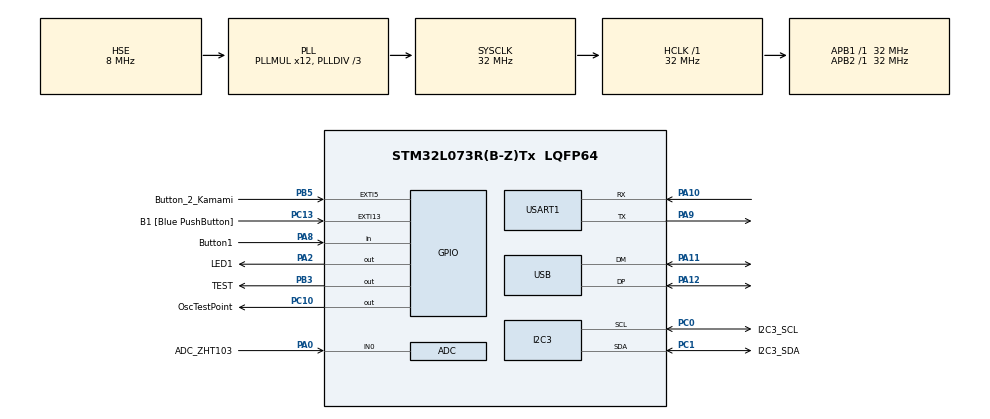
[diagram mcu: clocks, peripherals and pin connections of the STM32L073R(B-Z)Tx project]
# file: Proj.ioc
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ADC.ClockPrescaler=ADC_CLOCK_ASYNC_DIV1
ADC.ContinuousConvMode=DISABLE
ADC.EOCSelection=ADC_EOC_SEQ_CONV
Dma.ADC.0.Direction=DMA_PERIPH_TO_MEMORY
Dma.ADC.0.Instance=DMA1_Channel1
Dma.ADC.0.MemDataAlignment=DMA_MDATAALIGN_HALFWORD
Dma.ADC.0.MemInc=DMA_MINC_ENABLE
Dma.ADC.0.Mode=DMA_NORMAL
Dma.ADC.0.PeriphDataAlignment=DMA_PDATAALIGN_HALFWORD
Dma.ADC.0.PeriphInc=DMA_PINC_DISABLE
Dma.ADC.0.Priority=DMA_PRIORITY_LOW
Dma.Request0=ADC
I2C3.Timing=0x00707CBB
Mcu.Family=STM32L0
Mcu.Name=STM32L073R(B-Z)Tx
Mcu.Package=LQFP64
NVIC.ADC1_COMP_IRQn=true\:0\:0\:false\:false\:true\:true\:true\:true
NVIC.DMA1_Channel1_IRQn=true\:0\:0\:false\:false\:true\:false\:true\:true
NVIC.TIM6_DAC_IRQn=true\:0\:0\:false\:false\:true\:true\:true\:true
NVIC.USART1_IRQn=true\:0\:0\:false\:false\:true\:true\:true\:true
NVIC.USB_IRQn=true\:0\:0\:false\:false\:true\:false\:true\:true
PA0.GPIO_Label=ADC_ZHT103
PA0.Mode=IN0
PA0.Signal=ADC_IN0
PA10.Mode=Asynchronous
PA10.Signal=USART1_RX
PA11.Mode=Device
PA11.Signal=USB_DM
PA12.Mode=Device
PA12.Signal=USB_DP
PA13.GPIO_Label=TMS
PA13.Mode=Serial_Wire
PA13.Signal=SYS_SWDIO
PA14.GPIO_Label=TCK
PA14.Mode=Serial_Wire
PA14.Signal=SYS_SWCLK
PA2.GPIO_Label=LED1
PA2.Signal=GPIO_Output
PA8.GPIO_Label=Button1
PA8.GPIO_PuPd=GPIO_PULLUP
PA8.Signal=GPIO_Input
PA9.Mode=Asynchronous
PA9.Signal=USART1_TX
PB3.GPIO_Label=TEST
PB3.Signal=GPIO_Output
PB5.GPIO_Label=Button_2_Kamami
PB5.GPIO_PuPd=GPIO_PULLUP
PB5.Signal=GPXTI5
PC0.GPIO_Label=I2C3_SCL
PC0.Mode=I2C
PC0.Signal=I2C3_SCL
PC1.GPIO_Label=I2C3_SDA
PC1.Mode=I2C
PC1.Signal=I2C3_SDA
PC10.GPIO_Label=OscTestPoint
PC10.Signal=GPIO_Output
PC13.GPIO_Label=B1 [Blue PushButton]
PC13.GPIO_ModeDefaultEXTI=GPIO_MODE_IT_FALLING
PC13.Signal=GPXTI13
PC14-OSC32_IN.Mode=LSE-External-Oscillator
PC14-OSC32_IN.Signal=RCC_OSC32_IN
PC15-OSC32_OUT.Mode=LSE-External-Oscillator
PC15-OSC32_OUT.Signal=RCC_OSC32_OUT
PH0-OSC_IN.GPIO_Label=MCO
PH0-OSC_IN.Mode=HSE-External-Clock-Source
PH0-OSC_IN.Signal=RCC_OSC_IN
PH1-OSC_OUT.Signal=RCC_OSC_OUT
ProjectManager.HeapSize=0x600
ProjectManager.StackSize=0x600
ProjectManager.TargetToolchain=MDK-ARM V5.32
RCC.AHBFreq_Value=32000000
RCC.APB1Freq_Value=32000000
RCC.APB1TimFreq_Value=32000000
RCC.APB2Freq_Value=32000000
RCC.APB2TimFreq_Value=32000000
RCC.HCLKFreq_Value=32000000
RCC.HSE_VALUE=8000000
RCC.HSI16_VALUE=16000000
RCC.HSI48_VALUE=48000000
RCC.HSI_VALUE=16000000
RCC.MSI_VALUE=2097000
RCC.PLLDIV=RCC_PLLDIV_3
RCC.PLLMUL=RCC_PLLMUL_12
RCC.PREFETCH_ENABLE=1
RCC.SYSCLKFreq_VALUE=32000000
RCC.SYSCLKSource=RCC_SYSCLKSOURCE_PLLCLK
RCC.VCOOutputFreq_Value=96000000
TIM6.AutoReloadPreload=TIM_AUTORELOAD_PRELOAD_ENABLE
TIM6.Period=160
TIM6.Prescaler=10000
USART1.VirtualMode-Asynchronous=VM_ASYNC
USB_DEVICE.CLASS_NAME_FS=CDC
USB_DEVICE.VirtualMode=Cdc
USB_DEVICE.VirtualModeFS=Cdc_FS
VP_TIM6_VS_ClockSourceINT.Mode=Enable_Timer
VP_USB_DEVICE_VS_USB_DEVICE_CDC_FS.Mode=CDC_FS
board=NUCLEO-L073RZ

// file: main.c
/* USER CODE BEGIN Header */
/**
  ******************************************************************************
  * @file           : main.c
  * @brief          : Main program body
  ******************************************************************************
  * @attention
  *
  * Copyright (c) 2024 STMicroelectronics.
  * All rights reserved.
  *
  * This software is licensed under terms that can be found in the LICENSE file
  * in the root directory of this software component.
  * If no LICENSE file comes with this software, it is provided AS-IS.
  *
  ******************************************************************************
  */
/* USER CODE END Header */
#include "main.h"
#include "usb_device.h"

/* USER CODE BEGIN Includes */
#include "math.h"

#include "sc_types.h"
#include "Statechart.h"
#include "Statechart_required.h"

#include "ssd1306.h"
#include "fonts.h"
#include <stdio.h>
#include <string.h>

#include "stm32l0xx_hal.h"

/* USER CODE END Includes */

ADC_HandleTypeDef hadc;
DMA_HandleTypeDef hdma_adc;

I2C_HandleTypeDef hi2c3;

TIM_HandleTypeDef htim6;

UART_HandleTypeDef huart1;

void SystemClock_Config(void);
static void MX_GPIO_Init(void);
static void MX_DMA_Init(void);
static void MX_ADC_Init(void);
static void MX_I2C3_Init(void);
static void MX_TIM6_Init(void);
static void MX_USART1_UART_Init(void);

/* USER CODE BEGIN 0 */

uint8_t TxBuffer[60];
uint8_t RxBuffer[60];
int i;

typedef enum {UART_READY,UART_BUSY,UART_FINISHED} UART_Status;
UART_Status Status=UART_READY;
long WorkCounter=0;

/*
* Implement Transmit complete callback function
*/
void HAL_UART_TxCpltCallback(UART_HandleTypeDef *huart){
	if (Status==UART_BUSY)
		Status=UART_READY; // transmition finished, can send more if needed
}

void HandleError(){
	uint32_t uart_err;
	uart_err=HAL_UART_GetError(&huart1);
}

#define EEPROM_ADDRESS 0xA0  // EEPROM adresas
#define EEPROM_PAGE_SIZE 32

#define BUFFERLEN 24
#define Vref 3.3
#define Step 4095
#define Jautr 0.2
#define Koef 0.02

double DataBufferADC[BUFFERLEN];

float AverageSensorsADC;

float SqrSensorsADC;

Statechart sc_handle; // Statechart pointer

#define ADC_CONVERTED_DATA_BUFFER_SIZE   ((uint32_t)  32)   /* Size of array aADCxConvertedData[] */

static uint16_t   aADCxConvertedData[ADC_CONVERTED_DATA_BUFFER_SIZE];

double Raw_voltage;

double Raw_current;

/* for handling ADC errors */
void MyErrorHandlerADC()
{
}

void EEPROM_Write(uint16_t address, uint8_t* data, uint16_t size) {
    HAL_I2C_Mem_Write(&hi2c1, EEPROM_ADDR, address, I2C_MEMADD_SIZE_16BIT, data, size, HAL_MAX_DELAY);
}

void EEPROM_Read(uint16_t address, uint8_t* data, uint16_t size) {
    HAL_I2C_Mem_Read(&hi2c1, EEPROM_ADDR, address, I2C_MEMADD_SIZE_16BIT, data, size, HAL_MAX_DELAY);
}

void statechart_readMemory( Statechart* handle){
	uint16_t address = 0x00; // Adresas
	uint8_t bytes[4];
    /*memcpy(&bytes[0], &Vref, sizeof(float));
    memcpy(&bytes[1], &Jautr, sizeof(float));
    memcpy(&bytes[2], &Koef, sizeof(float));

	for (int i = 0; i < 3; i++) {
        EEPROM_Write(address, &bytes[i], sizeof(float));
        address += sizeof(float);
    };
	*/

	for (int i = 0; i < 4; i++) {
        EEPROM_Read(address, &bytes[i], sizeof(float));
        address += sizeof(float);
    }

    // Konvertuojame baitus atgal i float tipo skaicius
    float Vref, Jautr, Koef;
    memcpy(&Vref, &bytes[0], sizeof(float));
    memcpy(&Jautr, &bytes[1], sizeof(float));
    memcpy(&Koef, &bytes[2], sizeof(float));

};

void statechart_configADC( Statechart* handle){
	return;

};

sc_integer statechart_startConvADC( Statechart* handle, const sc_integer sample){

	if (HAL_ADC_Start_DMA(&hadc,(uint32_t *)aADCxConvertedData,
			          BUFFERLEN) != HAL_OK)
		{
			MyErrorHandlerADC();	// handle error};
		  return 0;
		}
	return 1;
}

void statechart_readADCSample( Statechart* handle){

	Raw_voltage = aADCxConvertedData[1];
  Raw_current = (Raw_voltage * Vref / Step)-Jautr;

	return;

}

sc_integer statechart_saveADCSample( Statechart* handle, const sc_integer sample){

	DataBufferADC[sample]=Raw_current;

	return 1;

}

void statechart_processData( Statechart* handle){

	double sum1;
	sum1=0;

	for(int i=0;i<BUFFERLEN;i++){
		sum1=sum1 + (DataBufferADC[i] * DataBufferADC[i]);

	}

	AverageSensorsADC=sum1/BUFFERLEN;

	SqrSensorsADC=(float)sqrt(AverageSensorsADC)/Koef;

}

void statechart_displayInfo( Statechart* handle){
#ifndef DISABLE_DISPLAY
	static char string_display[30];

	// Display analog sensor redings
	ssd1306_SetCursor(0, 0);
	sprintf(string_display,"Samp=%f mA    ",Raw_voltage);
	ssd1306_WriteString(string_display,Font_11x18, White);

	// Display analog sensors readings
	ssd1306_SetCursor(0, 22); // ssd1306_SetCursor(0, 14);
	sprintf(string_display,"U=%.1f V    ",round(Raw_current*10)/10);
	ssd1306_WriteString(string_display,Font_11x18, White);
  ssd1306_SetCursor(0, 44); // ssd1306_SetCursor(0, 14);
  sprintf(string_display,"I=%.1f mA    ",round(SqrSensorsADC*10)/10);
  ssd1306_WriteString(string_display,Font_11x18, White);

	// Copy all data from local screenbuffer to the screen
  ssd1306_UpdateScreen(&hi2c3);
	#endif

}

void statechart_sendInfo( Statechart* handle){

	if (Status==UART_READY)
		{
		sprintf((char *)TxBuffer,"Samples=%f; V= %f V; Irms= %f mA \n\r",Raw_voltage, Raw_current, SqrSensorsADC);
		//sprintf((char *)TxBuffer,"U=%f V \n\r",SqrSensorsADC);

		if (HAL_UART_Transmit_IT(&huart1,TxBuffer,strlen(TxBuffer))!=HAL_OK)
			{
			HandleError();}
		else
			Status=UART_BUSY; // sending data
	}

}

/* sampling timer interrupt callback function */
void HAL_TIM_PeriodElapsedCallback(TIM_HandleTypeDef *htim)
{
  if (htim==&htim6)
	{
		HAL_ResumeTick(); // Enable SysTick after wake-up
		statechart_raise_ev_GetSample(&sc_handle); //raise event TimerIntr in statechart
	}
}

/* ADC conversion competed callback*/
void HAL_ADC_ConvCpltCallback(ADC_HandleTypeDef *hadc)
{
	HAL_ResumeTick(); // Enable SysTick after wake-up
	//statechart_raise_ev_ADCSampleReady(&sc_handle); //raise event TimerIntr in statechart
}

static void SYSCLKConfig_STOP(void)
{
  RCC_ClkInitTypeDef RCC_ClkInitStruct = {0};
  RCC_OscInitTypeDef RCC_OscInitStruct = {0};
  uint32_t pFLatency = 0;

  /* Enable Power Control clock */
  __HAL_RCC_PWR_CLK_ENABLE();

  /* Get the Oscillators configuration according to the internal RCC registers */
  HAL_RCC_GetOscConfig(&RCC_OscInitStruct);

  RCC_OscInitStruct.OscillatorType = RCC_OSCILLATORTYPE_NONE;
  RCC_OscInitStruct.PLL.PLLState = RCC_PLL_ON;
  if (HAL_RCC_OscConfig(&RCC_OscInitStruct) != HAL_OK)
  {
    Error_Handler();
  }

  /* Get the Clocks configuration according to the internal RCC registers */
  HAL_RCC_GetClockConfig(&RCC_ClkInitStruct, &pFLatency);

  /* Select PLL as system clock source and configure the HCLK, PCLK1 and PCLK2
     clocks dividers */
  RCC_ClkInitStruct.ClockType     = RCC_CLOCKTYPE_SYSCLK;
  RCC_ClkInitStruct.SYSCLKSource  = RCC_SYSCLKSOURCE_PLLCLK;
  if (HAL_RCC_ClockConfig(&RCC_ClkInitStruct, pFLatency) != HAL_OK)
  {
    Error_Handler();
  }
}

/* USER CODE END 0 */

int main(void)
{

  /* MCU Configuration--------------------------------------------------------*/

  /* Reset of all peripherals, Initializes the Flash interface and the Systick. */
  HAL_Init();

  /* Configure the system clock */
  SystemClock_Config();

  /* Initialize all configured peripherals */
  MX_GPIO_Init();
  MX_DMA_Init();
  MX_ADC_Init();
  MX_I2C3_Init();
  MX_TIM6_Init();
  MX_USB_DEVICE_Init();
  MX_USART1_UART_Init();
  /* USER CODE BEGIN 2 */

		#ifndef DISABLE_DISPLAY
  // Init lcd using one of the stm32HAL i2c typedefs
  ssd1306_Init(&hi2c3);
  // Write data to local screenbuffer
	ssd1306_SetCursor(0,0);
  ssd1306_WriteString("Starting ...",Font_11x18, White);
  ssd1306_SetCursor(0, 12);

  // Copy all data from local screenbuffer to the screen
   ssd1306_UpdateScreen(&hi2c3);
	 #endif

	#ifndef DISABLE_PROCESSING
  statechart_init(&sc_handle); // initialize state machine
  statechart_enter(&sc_handle); // run state machine

	if(HAL_TIM_Base_Start_IT(&htim6) != HAL_OK) //run TIM6 timer
   {
    //ErrorHandler();
   }
		#endif

  /* USER CODE END 2 */

  /* Infinite loop */
  while (1)
  {

  }
}

void SystemClock_Config(void)
{
  RCC_OscInitTypeDef RCC_OscInitStruct = {0};
  RCC_ClkInitTypeDef RCC_ClkInitStruct = {0};
  RCC_PeriphCLKInitTypeDef PeriphClkInit = {0};

  /** Configure the main internal regulator output voltage
  */
  __HAL_PWR_VOLTAGESCALING_CONFIG(PWR_REGULATOR_VOLTAGE_SCALE1);

  /** Initializes the RCC Oscillators according to the specified parameters
  * in the RCC_OscInitTypeDef structure.
  */
  RCC_OscInitStruct.OscillatorType = RCC_OSCILLATORTYPE_HSI|RCC_OSCILLATORTYPE_HSE;
  RCC_OscInitStruct.HSEState = RCC_HSE_BYPASS;
  RCC_OscInitStruct.HSIState = RCC_HSI_ON;
  RCC_OscInitStruct.HSICalibrationValue = RCC_HSICALIBRATION_DEFAULT;
  RCC_OscInitStruct.PLL.PLLState = RCC_PLL_ON;
  RCC_OscInitStruct.PLL.PLLSource = RCC_PLLSOURCE_HSE;
  RCC_OscInitStruct.PLL.PLLMUL = RCC_PLLMUL_12;
  RCC_OscInitStruct.PLL.PLLDIV = RCC_PLLDIV_3;
  if (HAL_RCC_OscConfig(&RCC_OscInitStruct) != HAL_OK)
  {
    Error_Handler();
  }

  /** Initializes the CPU, AHB and APB buses clocks
  */
  RCC_ClkInitStruct.ClockType = RCC_CLOCKTYPE_HCLK|RCC_CLOCKTYPE_SYSCLK
                              |RCC_CLOCKTYPE_PCLK1|RCC_CLOCKTYPE_PCLK2;
  RCC_ClkInitStruct.SYSCLKSource = RCC_SYSCLKSOURCE_PLLCLK;
  RCC_ClkInitStruct.AHBCLKDivider = RCC_SYSCLK_DIV1;
  RCC_ClkInitStruct.APB1CLKDivider = RCC_HCLK_DIV1;
  RCC_ClkInitStruct.APB2CLKDivider = RCC_HCLK_DIV1;

  if (HAL_RCC_ClockConfig(&RCC_ClkInitStruct, FLASH_LATENCY_1) != HAL_OK)
  {
    Error_Handler();
  }
  PeriphClkInit.PeriphClockSelection = RCC_PERIPHCLK_USART1|RCC_PERIPHCLK_I2C3
                              |RCC_PERIPHCLK_USB;
  PeriphClkInit.Usart1ClockSelection = RCC_USART1CLKSOURCE_PCLK2;
  PeriphClkInit.I2c3ClockSelection = RCC_I2C3CLKSOURCE_PCLK1;
  PeriphClkInit.UsbClockSelection = RCC_USBCLKSOURCE_PLL;
  if (HAL_RCCEx_PeriphCLKConfig(&PeriphClkInit) != HAL_OK)
  {
    Error_Handler();
  }
}

static void MX_ADC_Init(void)
{

  ADC_ChannelConfTypeDef sConfig = {0};

  /** Configure the global features of the ADC (Clock, Resolution, Data Alignment and number of conversion)
  */
  hadc.Instance = ADC1;
  hadc.Init.OversamplingMode = DISABLE;
  hadc.Init.ClockPrescaler = ADC_CLOCK_ASYNC_DIV1;
  hadc.Init.Resolution = ADC_RESOLUTION_12B;
  hadc.Init.SamplingTime = ADC_SAMPLETIME_1CYCLE_5;
  hadc.Init.ScanConvMode = ADC_SCAN_DIRECTION_FORWARD;
  hadc.Init.DataAlign = ADC_DATAALIGN_RIGHT;
  hadc.Init.ContinuousConvMode = DISABLE;
  hadc.Init.DiscontinuousConvMode = DISABLE;
  hadc.Init.ExternalTrigConvEdge = ADC_EXTERNALTRIGCONVEDGE_NONE;
  hadc.Init.ExternalTrigConv = ADC_SOFTWARE_START;
  hadc.Init.DMAContinuousRequests = DISABLE;
  hadc.Init.EOCSelection = ADC_EOC_SEQ_CONV;
  hadc.Init.Overrun = ADC_OVR_DATA_PRESERVED;
  hadc.Init.LowPowerAutoWait = DISABLE;
  hadc.Init.LowPowerFrequencyMode = DISABLE;
  hadc.Init.LowPowerAutoPowerOff = DISABLE;
  if (HAL_ADC_Init(&hadc) != HAL_OK)
  {
    Error_Handler();
  }

  /** Configure for the selected ADC regular channel to be converted.
  */
  sConfig.Channel = ADC_CHANNEL_0;
  sConfig.Rank = ADC_RANK_CHANNEL_NUMBER;
  if (HAL_ADC_ConfigChannel(&hadc, &sConfig) != HAL_OK)
  {
    Error_Handler();
  }

}

static void MX_I2C3_Init(void)
{

  hi2c3.Instance = I2C3;
  hi2c3.Init.Timing = 0x00707CBB;
  hi2c3.Init.OwnAddress1 = 0;
  hi2c3.Init.AddressingMode = I2C_ADDRESSINGMODE_7BIT;
  hi2c3.Init.DualAddressMode = I2C_DUALADDRESS_DISABLE;
  hi2c3.Init.OwnAddress2 = 0;
  hi2c3.Init.OwnAddress2Masks = I2C_OA2_NOMASK;
  hi2c3.Init.GeneralCallMode = I2C_GENERALCALL_DISABLE;
  hi2c3.Init.NoStretchMode = I2C_NOSTRETCH_DISABLE;
  if (HAL_I2C_Init(&hi2c3) != HAL_OK)
  {
    Error_Handler();
  }

  /** Configure Analogue filter
  */
  if (HAL_I2CEx_ConfigAnalogFilter(&hi2c3, I2C_ANALOGFILTER_ENABLE) != HAL_OK)
  {
    Error_Handler();
  }

  /** Configure Digital filter
  */
  if (HAL_I2CEx_ConfigDigitalFilter(&hi2c3, 0) != HAL_OK)
  {
    Error_Handler();
  }

}

static void MX_TIM6_Init(void)
{

  TIM_MasterConfigTypeDef sMasterConfig = {0};

  htim6.Instance = TIM6;
  htim6.Init.Prescaler = 10000;
  htim6.Init.CounterMode = TIM_COUNTERMODE_UP;
  htim6.Init.Period = 640;
  htim6.Init.AutoReloadPreload = TIM_AUTORELOAD_PRELOAD_ENABLE;
  if (HAL_TIM_Base_Init(&htim6) != HAL_OK)
  {
    Error_Handler();
  }
  sMasterConfig.MasterOutputTrigger = TIM_TRGO_RESET;
  sMasterConfig.MasterSlaveMode = TIM_MASTERSLAVEMODE_DISABLE;
  if (HAL_TIMEx_MasterConfigSynchronization(&htim6, &sMasterConfig) != HAL_OK)
  {
    Error_Handler();
  }

}

static void MX_USART1_UART_Init(void)
{

  huart1.Instance = USART1;
  huart1.Init.BaudRate = 115200;
  huart1.Init.WordLength = UART_WORDLENGTH_8B;
  huart1.Init.StopBits = UART_STOPBITS_1;
  huart1.Init.Parity = UART_PARITY_NONE;
  huart1.Init.Mode = UART_MODE_TX_RX;
  huart1.Init.HwFlowCtl = UART_HWCONTROL_NONE;
  huart1.Init.OverSampling = UART_OVERSAMPLING_16;
  huart1.Init.OneBitSampling = UART_ONE_BIT_SAMPLE_DISABLE;
  huart1.AdvancedInit.AdvFeatureInit = UART_ADVFEATURE_NO_INIT;
  if (HAL_UART_Init(&huart1) != HAL_OK)
  {
    Error_Handler();
  }

}

static void MX_DMA_Init(void)
{

  /* DMA controller clock enable */
  __HAL_RCC_DMA1_CLK_ENABLE();

  /* DMA interrupt init */
  /* DMA1_Channel1_IRQn interrupt configuration */
  HAL_NVIC_SetPriority(DMA1_Channel1_IRQn, 0, 0);
  HAL_NVIC_EnableIRQ(DMA1_Channel1_IRQn);

}

static void MX_GPIO_Init(void)
{
  GPIO_InitTypeDef GPIO_InitStruct = {0};

  /* GPIO Ports Clock Enable */
  __HAL_RCC_GPIOC_CLK_ENABLE();
  __HAL_RCC_GPIOH_CLK_ENABLE();
  __HAL_RCC_GPIOA_CLK_ENABLE();
  __HAL_RCC_GPIOB_CLK_ENABLE();

  /*Configure GPIO pin Output Level */
  HAL_GPIO_WritePin(LED1_GPIO_Port, LED1_Pin, GPIO_PIN_RESET);

  /*Configure GPIO pin Output Level */
  HAL_GPIO_WritePin(OscTestPoint_GPIO_Port, OscTestPoint_Pin, GPIO_PIN_RESET);

  /*Configure GPIO pin Output Level */
  HAL_GPIO_WritePin(TEST_GPIO_Port, TEST_Pin, GPIO_PIN_RESET);

  /*Configure GPIO pin : B1_Pin */
  GPIO_InitStruct.Pin = B1_Pin;
  GPIO_InitStruct.Mode = GPIO_MODE_IT_FALLING;
  GPIO_InitStruct.Pull = GPIO_NOPULL;
  HAL_GPIO_Init(B1_GPIO_Port, &GPIO_InitStruct);

  /*Configure GPIO pin : LED1_Pin */
  GPIO_InitStruct.Pin = LED1_Pin;
  GPIO_InitStruct.Mode = GPIO_MODE_OUTPUT_PP;
  GPIO_InitStruct.Pull = GPIO_NOPULL;
  GPIO_InitStruct.Speed = GPIO_SPEED_FREQ_LOW;
  HAL_GPIO_Init(LED1_GPIO_Port, &GPIO_InitStruct);

  /*Configure GPIO pin : Button1_Pin */
  GPIO_InitStruct.Pin = Button1_Pin;
  GPIO_InitStruct.Mode = GPIO_MODE_INPUT;
  GPIO_InitStruct.Pull = GPIO_PULLUP;
  HAL_GPIO_Init(Button1_GPIO_Port, &GPIO_InitStruct);

  /*Configure GPIO pin : OscTestPoint_Pin */
  GPIO_InitStruct.Pin = OscTestPoint_Pin;
  GPIO_InitStruct.Mode = GPIO_MODE_OUTPUT_PP;
  GPIO_InitStruct.Pull = GPIO_NOPULL;
  GPIO_InitStruct.Speed = GPIO_SPEED_FREQ_LOW;
  HAL_GPIO_Init(OscTestPoint_GPIO_Port, &GPIO_InitStruct);

  /*Configure GPIO pin : TEST_Pin */
  GPIO_InitStruct.Pin = TEST_Pin;
  GPIO_InitStruct.Mode = GPIO_MODE_OUTPUT_PP;
  GPIO_InitStruct.Pull = GPIO_NOPULL;
  GPIO_InitStruct.Speed = GPIO_SPEED_FREQ_LOW;
  HAL_GPIO_Init(TEST_GPIO_Port, &GPIO_InitStruct);

  /*Configure GPIO pin : Button_2_Kamami_Pin */
  GPIO_InitStruct.Pin = Button_2_Kamami_Pin;
  GPIO_InitStruct.Mode = GPIO_MODE_IT_RISING;
  GPIO_InitStruct.Pull = GPIO_PULLUP;
  HAL_GPIO_Init(Button_2_Kamami_GPIO_Port, &GPIO_InitStruct);

}

void Error_Handler(void)
{
  __disable_irq();
  while (1)
  {
  }
}
